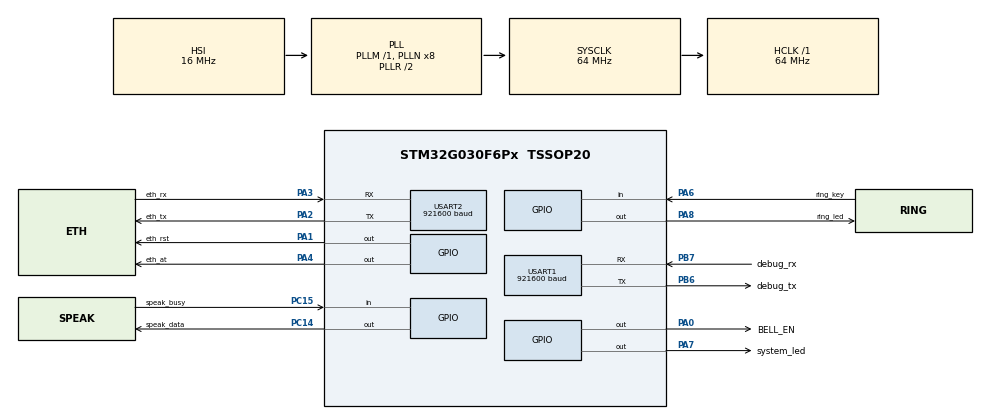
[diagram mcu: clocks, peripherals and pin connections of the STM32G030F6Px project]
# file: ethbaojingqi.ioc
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Dma.Request0=USART2_RX
Dma.USART2_RX.0.Direction=DMA_PERIPH_TO_MEMORY
Dma.USART2_RX.0.EventEnable=DISABLE
Dma.USART2_RX.0.Instance=DMA1_Channel1
Dma.USART2_RX.0.MemDataAlignment=DMA_MDATAALIGN_BYTE
Dma.USART2_RX.0.MemInc=DMA_MINC_ENABLE
Dma.USART2_RX.0.Mode=DMA_NORMAL
Dma.USART2_RX.0.PeriphDataAlignment=DMA_PDATAALIGN_BYTE
Dma.USART2_RX.0.PeriphInc=DMA_PINC_DISABLE
Dma.USART2_RX.0.Polarity=HAL_DMAMUX_REQ_GEN_RISING
Dma.USART2_RX.0.Priority=DMA_PRIORITY_LOW
Dma.USART2_RX.0.RequestNumber=1
Dma.USART2_RX.0.SignalID=NONE
Dma.USART2_RX.0.SyncEnable=DISABLE
Dma.USART2_RX.0.SyncPolarity=HAL_DMAMUX_SYNC_NO_EVENT
Dma.USART2_RX.0.SyncRequestNumber=1
Dma.USART2_RX.0.SyncSignalID=NONE
Mcu.Family=STM32G0
Mcu.Name=STM32G030F6Px
Mcu.Package=TSSOP20
NVIC.DMA1_Channel1_IRQn=true\:0\:0\:false\:true\:true\:2\:false\:true
NVIC.TIM3_IRQn=true\:0\:0\:false\:false\:true\:false\:true
NVIC.TimeBase=TIM3_IRQn
NVIC.TimeBaseIP=TIM3
NVIC.USART2_IRQn=true\:0\:0\:false\:true\:true\:1\:true\:true
PA0.GPIO_Label=BELL_EN
PA0.PinState=GPIO_PIN_SET
PA0.Signal=GPIO_Output
PA1.GPIO_Label=eth_rst
PA1.PinState=GPIO_PIN_SET
PA1.Signal=GPIO_Output
PA13.Mode=Serial_Wire
PA13.Signal=SYS_SWDIO
PA14-BOOT0.Mode=Serial_Wire
PA14-BOOT0.Signal=SYS_SWCLK
PA2.GPIO_Label=eth_tx
PA2.Mode=Asynchronous
PA2.Signal=USART2_TX
PA3.GPIO_Label=eth_rx
PA3.Mode=Asynchronous
PA3.Signal=USART2_RX
PA4.GPIO_Label=eth_at
PA4.PinState=GPIO_PIN_SET
PA4.Signal=GPIO_Output
PA6.GPIO_Label=ring_key
PA6.Signal=GPIO_Input
PA7.GPIO_Label=system_led
PA7.Signal=GPIO_Output
PA8.GPIO_Label=ring_led
PA8.Signal=GPIO_Output
PB6.GPIO_Label=debug_tx
PB6.Mode=Asynchronous
PB6.Signal=USART1_TX
PB7.GPIO_Label=debug_rx
PB7.Mode=Asynchronous
PB7.Signal=USART1_RX
PC14-OSC32_IN\ (PC14).GPIO_Label=speak_data
PC14-OSC32_IN\ (PC14).Signal=GPIO_Output
PC15-OSC32_OUT\ (PC15).GPIO_Label=speak_busy
PC15-OSC32_OUT\ (PC15).Signal=GPIO_Input
ProjectManager.HeapSize=0x200
ProjectManager.StackSize=0x400
ProjectManager.TargetToolchain=MDK-ARM V5.27
RCC.ADCFreq_Value=64000000
RCC.AHBFreq_Value=64000000
RCC.CortexFreq_Value=64000000
RCC.EXTERNAL_CLOCK_VALUE=12288000
RCC.HCLKFreq_Value=64000000
RCC.HSE_VALUE=8000000
RCC.HSI_VALUE=16000000
RCC.LSE_VALUE=32768
RCC.SYSCLKFreq_VALUE=64000000
RCC.SYSCLKSource=RCC_SYSCLKSOURCE_PLLCLK
RCC.VCOOutputFreq_Value=128000000
USART1.BaudRate=921600
USART1.VirtualMode-Asynchronous=VM_ASYNC
USART2.BaudRate=921600
USART2.VirtualMode-Asynchronous=VM_ASYNC
VP_SYS_VS_tim3.Mode=TIM3
board=custom

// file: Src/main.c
/* USER CODE BEGIN Header */
/**
  ******************************************************************************
  * @file           : main.c
  * @brief          : Main program body
  ******************************************************************************
  * @attention
  *
  * <h2><center>&copy; Copyright (c) 2021 STMicroelectronics.
  * All rights reserved.</center></h2>
  *
  * This software component is licensed by ST under BSD 3-Clause license,
  * the "License"; You may not use this file except in compliance with the
  * License. You may obtain a copy of the License at:
  *                        opensource.org/licenses/BSD-3-Clause
  *
  ******************************************************************************
  */
/* USER CODE END Header */

#include "main.h"
#include "dma.h"
#include "usart.h"
#include "gpio.h"

/* USER CODE BEGIN Includes */
#include "stdio.h"
/* USER CODE END Includes */

/* USER CODE BEGIN PTD */
#define xintiaotim      10000
 extern uint8_t runing_flag;
  extern uint32_t runing_count;
/* USER CODE END PTD */

void SystemClock_Config(void);
static void MX_NVIC_Init(void);

int main(void)
{

  /* MCU Configuration--------------------------------------------------------*/

  /* Reset of all peripherals, Initializes the Flash interface and the Systick. */
  HAL_Init();

  /* Configure the system clock */
  SystemClock_Config();

  /* Initialize all configured peripherals */
  MX_GPIO_Init();
  MX_DMA_Init();
  MX_USART1_UART_Init();
  MX_USART2_UART_Init();

  /* Initialize interrupts */
  MX_NVIC_Init();
  /* USER CODE BEGIN 2 */
    ETH_Rst();
   ETH_DMA_START();
   eth_at_open();
	   printf("一键启动报警\r\n");
		 /*关闭代码对设备进行IP配置*/
//   	 while(eth_init()!=1);

//	  init_dev_eth();   //配置设备IP地址
   while( eth_ring_net_in()!=1)   //接入服务器
	 {

	 }
      runing_flag=1;
	   printf("入网成功\r\n");
  /* USER CODE END 2 */

  /* Infinite loop */
  while (1)
  {
// printf("一键启动报警\r\n");
    /* USER CODE BEGIN 3 */
//		HAL_GPIO_TogglePin(GPIOA, system_led_Pin
//                          );
////		   Line_1A_WT588S(11);//消警成功
//		 HAL_Delay(1000);

     run_system_task();

  }
  /* USER CODE END 3 */
}

void SystemClock_Config(void)
{
  RCC_OscInitTypeDef RCC_OscInitStruct = {0};
  RCC_ClkInitTypeDef RCC_ClkInitStruct = {0};
  RCC_PeriphCLKInitTypeDef PeriphClkInit = {0};

  /** Configure the main internal regulator output voltage
  */
  HAL_PWREx_ControlVoltageScaling(PWR_REGULATOR_VOLTAGE_SCALE1);
  /** Initializes the CPU, AHB and APB busses clocks
  */
  RCC_OscInitStruct.OscillatorType = RCC_OSCILLATORTYPE_HSI;
  RCC_OscInitStruct.HSIState = RCC_HSI_ON;
  RCC_OscInitStruct.HSIDiv = RCC_HSI_DIV1;
  RCC_OscInitStruct.HSICalibrationValue = RCC_HSICALIBRATION_DEFAULT;
  RCC_OscInitStruct.PLL.PLLState = RCC_PLL_ON;
  RCC_OscInitStruct.PLL.PLLSource = RCC_PLLSOURCE_HSI;
  RCC_OscInitStruct.PLL.PLLM = RCC_PLLM_DIV1;
  RCC_OscInitStruct.PLL.PLLN = 8;
  RCC_OscInitStruct.PLL.PLLP = RCC_PLLP_DIV2;
  RCC_OscInitStruct.PLL.PLLR = RCC_PLLR_DIV2;
  if (HAL_RCC_OscConfig(&RCC_OscInitStruct) != HAL_OK)
  {
    Error_Handler();
  }
  /** Initializes the CPU, AHB and APB busses clocks
  */
  RCC_ClkInitStruct.ClockType = RCC_CLOCKTYPE_HCLK|RCC_CLOCKTYPE_SYSCLK
                              |RCC_CLOCKTYPE_PCLK1;
  RCC_ClkInitStruct.SYSCLKSource = RCC_SYSCLKSOURCE_PLLCLK;
  RCC_ClkInitStruct.AHBCLKDivider = RCC_SYSCLK_DIV1;
  RCC_ClkInitStruct.APB1CLKDivider = RCC_HCLK_DIV1;

  if (HAL_RCC_ClockConfig(&RCC_ClkInitStruct, FLASH_LATENCY_2) != HAL_OK)
  {
    Error_Handler();
  }
  /** Initializes the peripherals clocks
  */
  PeriphClkInit.PeriphClockSelection = RCC_PERIPHCLK_USART1;
  PeriphClkInit.Usart1ClockSelection = RCC_USART1CLKSOURCE_PCLK1;
  if (HAL_RCCEx_PeriphCLKConfig(&PeriphClkInit) != HAL_OK)
  {
    Error_Handler();
  }
}

/**
  * @brief NVIC Configuration.
  * @retval None
  */
static void MX_NVIC_Init(void)
{
  /* USART2_IRQn interrupt configuration */
  HAL_NVIC_SetPriority(USART2_IRQn, 1, 0);
  HAL_NVIC_EnableIRQ(USART2_IRQn);
  /* DMA1_Channel1_IRQn interrupt configuration */
  HAL_NVIC_SetPriority(DMA1_Channel1_IRQn, 0, 0);
  HAL_NVIC_EnableIRQ(DMA1_Channel1_IRQn);
}

/* USER CODE BEGIN 4 */
extern uint8_t eth_ack_flag;
 uint32_t eth_ack_count;
/* USER CODE END 4 */

 /**
  * @brief  Period elapsed callback in non blocking mode
  * @note   This function is called  when TIM3 interrupt took place, inside
  * HAL_TIM_IRQHandler(). It makes a direct call to HAL_IncTick() to increment
  * a global variable "uwTick" used as application time base.
  * @param  htim : TIM handle
  * @retval None
  */
void HAL_TIM_PeriodElapsedCallback(TIM_HandleTypeDef *htim)
{
  if (htim->Instance == TIM3) {
    HAL_IncTick();
  }
  /* USER CODE BEGIN Callback 1 */
 	if(eth_ack_flag==1)
	{
		eth_ack_count++;
		if(eth_ack_count>10000)
		{
			eth_ack_flag=2;
			eth_ack_count=0;
		}

	}
	else
	{
		eth_ack_count=0;

	}
	if( runing_flag==1)
	{
	   	runing_count++;
		 if(runing_count>xintiaotim)
		 {
			 runing_count=0;
			 runing_flag=2;
		 }

	}
  /* USER CODE END Callback 1 */
}

void Error_Handler(void)
{
}

/************************ (C) COPYRIGHT STMicroelectronics *****END OF FILE****/
